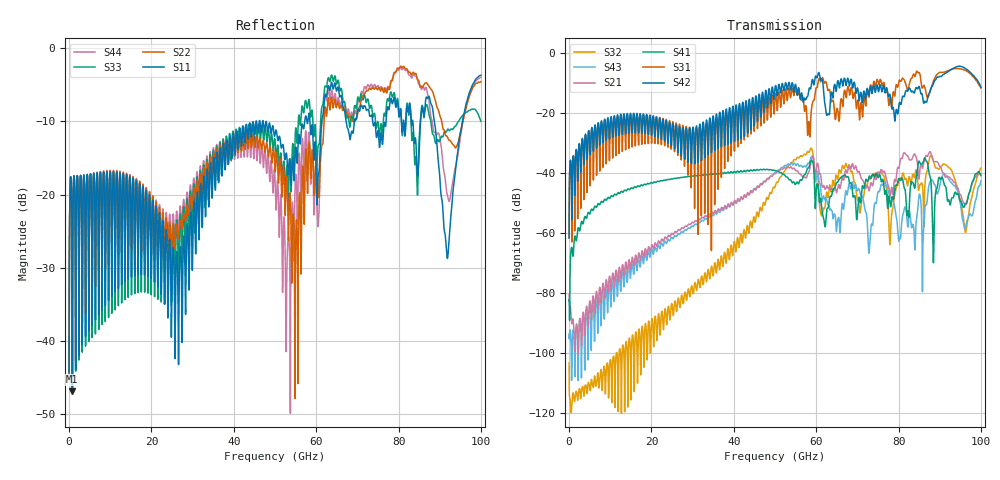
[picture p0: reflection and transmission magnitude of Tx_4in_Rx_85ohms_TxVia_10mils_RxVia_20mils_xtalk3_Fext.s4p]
! Info: Touchstone file created by Circ.  Input file=Tx_4in_Rx_85ohms_TxVia_10mils_RxVia_20mils.circ
# Hz S RI R 50
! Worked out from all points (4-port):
!   10000 points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, 10 MHz to 100 GHz, reference 50 ohm
!   strongest paths, dB at 10 MHz, 25.01 GHz, 50.01 GHz, 75.01 GHz, 100 GHz:
!     S42: -61.6, -25.8, -11.8, -12.2, -11.5
!     S31: -61.7, -25.1, -15.0, -9.6, -11.7
!     S41: -82.3, -42.0, -39.2, -41.6, -40.9
!     S21: -80.4, -60.1, -40.3, -39.9, -40.3
!     S43: -93.5, -61.6, -39.9, -46.3, -42.6
!     S32: -103.2, -83.8, -44.6, -39.7, -38.4
!   lowest |S11| = -46.8 dB at 800 MHz (marker M1), VSWR 1.01, Z = 49.6 - j0.123 ohm
!   |S11| at or under -10 dB: start of sweep to 45.41 GHz; 47.88 GHz to 57.21 GHz (9.331 GHz wide, 17.8 % of centre); 88.69 GHz to 95.48 GHz (6.786 GHz wide, 7.37 % of centre)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
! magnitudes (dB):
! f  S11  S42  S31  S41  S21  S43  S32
! 10 MHz  -44.3  -61.6  -61.7  -82.3  -80.4  -93.5  -103.2
! 800 MHz  -46.8  -39.3  -39.4  -66.1  -89.0  -96.0  -114.7
! 29.78 GHz  -25.8  -33.7  -31.5  -41.0  -56.5  -57.7  -77.6
! 58.53 GHz  -10.5  -11.9  -27.5  -36.6  -37.9  -35.8  -32.3
! 72.93 GHz  -9.1  -12.9  -13.5  -41.0  -45.7  -65.2  -42.1
! 91.85 GHz  -28.7  -6.4  -6.1  -49.0  -41.1  -41.5  -37.7
! 100 GHz  -3.7  -11.5  -11.7  -40.9  -40.3  -42.6  -38.4
